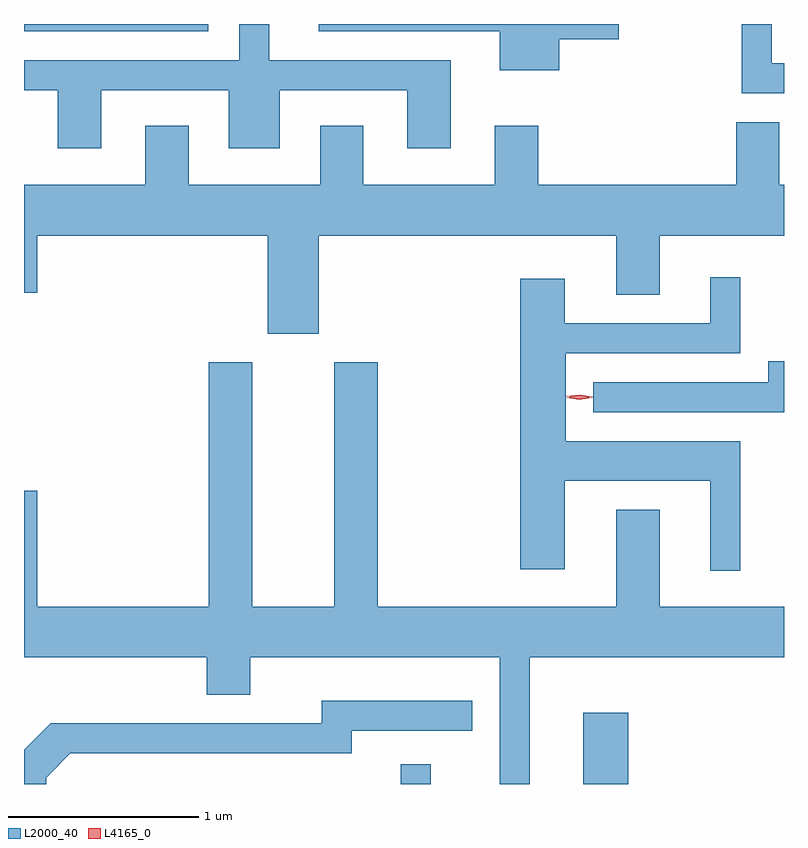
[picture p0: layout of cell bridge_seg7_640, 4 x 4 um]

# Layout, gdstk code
import gdstk
lib = gdstk.Library(unit=1e-6, precision=1e-09)
def R(c, l, rs):  # rectangles x0, y0, x1, y1
    for r in rs: c.add(gdstk.rectangle(r[:2], r[2:], *l))
def P(c, l, *ps):  # polygons
    for p in ps: c.add(gdstk.Polygon(p, *l))
L2000_40 = (2000, 40)
L4165_0 = (4165, 0)

bridge_seg7_640 = lib.new_cell('bridge_seg7_640')
R(bridge_seg7_640, L2000_40, [(876.596,1673.69,876.754,1673.793), (877.556,1673.69,877.794,1674.064), (874.613,1677.651,875.584,1677.69)])
P(bridge_seg7_640, L2000_40, [(875.019,1677.341),(875.691,1677.341),(875.691,1677.036),(875.959,1677.036),(875.959,1677.341),(876.631,1677.341),(876.631,1677.036),(876.859,1677.036),(876.859,1677.499),(875.904,1677.499),(875.904,1677.69),(875.746,1677.69),(875.746,1677.499),(874.613,1677.499),(874.613,1677.341),(874.791,1677.341),(874.791,1677.036),(875.019,1677.036)],
  [(877.429,1677.611),(877.744,1677.611),(877.744,1677.69),(876.163,1677.69),(876.163,1677.651),(877.116,1677.651),(877.116,1677.446),(877.429,1677.446)],
  [(878.613,1677.484),(878.549,1677.484),(878.549,1677.69),(878.391,1677.69),(878.391,1677.326),(878.613,1677.326)],
  [(878.361,1677.174),(878.361,1676.844),(877.319,1676.844),(877.319,1677.154),(877.091,1677.154),(877.091,1676.844),(876.399,1676.844),(876.399,1677.154),(876.171,1677.154),(876.171,1676.844),(875.479,1676.844),(875.479,1677.154),(875.251,1677.154),(875.251,1676.844),(874.613,1676.844),(874.613,1676.276),(874.684,1676.276),(874.684,1676.576),(875.896,1676.576),(875.896,1676.061),(876.164,1676.061),(876.164,1676.576),(877.731,1676.576),(877.731,1676.266),(877.959,1676.266),(877.959,1676.576),(878.613,1676.576),(878.613,1676.844),(878.589,1676.844),(878.589,1677.174)],
  [(878.384,1675.494),(877.464,1675.494),(877.464,1675.956),(878.384,1675.956),(878.384,1676.358),(878.226,1676.358),(878.226,1676.114),(877.459,1676.114),(877.459,1676.349),(877.226,1676.349),(877.226,1674.821),(877.459,1674.821),(877.459,1675.286),(878.226,1675.286),(878.226,1674.813),(878.384,1674.813)],
  [(878.613,1675.914),(878.531,1675.914),(878.531,1675.804),(877.608,1675.804),(877.608,1675.646),(878.613,1675.646)],
  [(877.274,1674.356),(878.613,1674.356),(878.613,1674.624),(877.959,1674.624),(877.959,1675.134),(877.731,1675.134),(877.731,1674.624),(876.474,1674.624),(876.474,1675.909),(876.246,1675.909),(876.246,1674.624),(875.814,1674.624),(875.814,1675.909),(875.586,1675.909),(875.586,1674.624),(874.684,1674.624),(874.684,1675.234),(874.613,1675.234),(874.613,1674.356),(875.576,1674.356),(875.576,1674.161),(875.804,1674.161),(875.804,1674.356),(877.116,1674.356),(877.116,1673.69),(877.274,1673.69)],
  [(874.729,1673.724),(874.857,1673.851),(876.339,1673.851),(876.339,1673.971),(876.973,1673.971),(876.973,1674.129),(876.181,1674.129),(876.181,1674.009),(874.754,1674.009),(874.613,1673.869),(874.613,1673.69),(874.729,1673.69)])
P(bridge_seg7_640, L4165_0, [(877.536,1675.713),(877.47,1675.722),(877.47,1675.723),(877.47,1675.723),(877.536,1675.733),(877.602,1675.723),(877.603,1675.723),(877.602,1675.722)],
  [(877.537,1675.719),(877.468,1675.73),(877.467,1675.73),(877.468,1675.731),(877.537,1675.74),(877.606,1675.729),(877.606,1675.729),(877.606,1675.728)])

lib.write_gds('bridge_seg7_640.gds')
